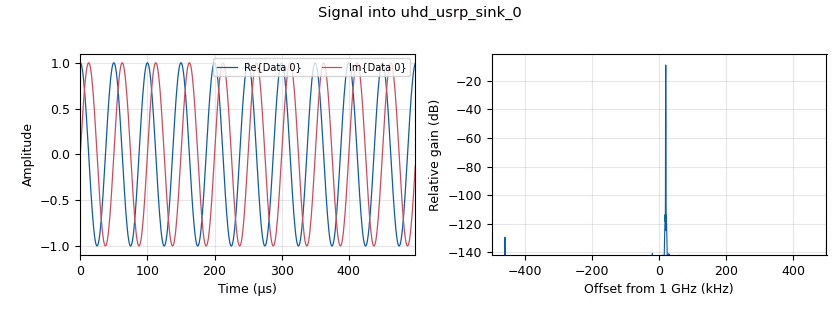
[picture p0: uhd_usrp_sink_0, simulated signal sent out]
options:
  parameters:
    generate_options: qt_gui
    id: ex1
    output_language: python
    title: Top Block
  states: {}

blocks:
- name: carrier_freq
  id: variable
  parameters:
    value: 1e9
  states: {}
- name: freq
  id: variable
  parameters:
    value: 20e3
  states: {}
- name: samp_rate
  id: variable
  parameters:
    value: 1e6
  states: {}
- name: analog_sig_source_x_0
  id: analog_sig_source_x
  parameters:
    amp: '1'
    freq: freq
    offset: '0'
    phase: '0'
    samp_rate: samp_rate
    type: complex
    waveform: analog.GR_COS_WAVE
  states: {}
- name: qtgui_sink_x_0
  id: qtgui_sink_x
  parameters:
    bw: samp_rate
    fc: '0'
    fftsize: '1024'
    type: complex
  states: {}
- name: uhd_usrp_sink_0
  id: uhd_usrp_sink
  parameters:
    ant0: '"TX/RX"'
    center_freq0: carrier_freq
    gain0: '1'
    samp_rate: samp_rate
    sync: sync
    type: fc32
  states: {}
- name: uhd_usrp_source_0
  id: uhd_usrp_source
  parameters:
    ant0: '"RX2"'
    center_freq0: carrier_freq
    gain0: '0'
    samp_rate: samp_rate
    sync: sync
    type: fc32
  states: {}

connections:
- [analog_sig_source_x_0, '0', uhd_usrp_sink_0, '0']
- [uhd_usrp_source_0, '0', qtgui_sink_x_0, '0']

metadata:
  file_format: 1
  grc_version: 3.10.7.0
